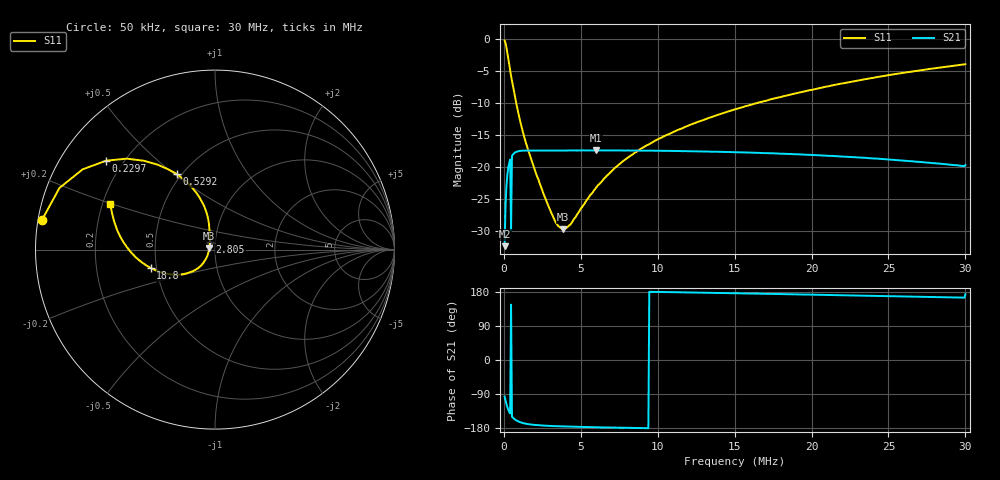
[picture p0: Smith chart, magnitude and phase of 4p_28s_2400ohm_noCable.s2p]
# HZ S RI R 50
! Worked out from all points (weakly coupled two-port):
!   501 points, 50 kHz to 30 MHz, reference 50 ohm
!   highest |S21| = -17.42 dB at 5.98 MHz (marker M1); lowest = -32.4 dB at 50 kHz (marker M2)
!   lowest |S11| = -29.8 dB at 3.824 MHz (marker M3), VSWR 1.07, Z = 46.9 + j0.666 ohm
!   |S11| at or under -10 dB: 803.5 kHz to 16.47 MHz (15.66 MHz wide, 181 % of centre)
!   S12 and S22 are empty: the file has one direction only
!   S11 on the Smith chart (normalised r, x): 50 kHz: 0.01, +0.08; 229.7 kHz: 0.14, +0.35; 529.2 kHz: 0.47, +0.51; 2.805 MHz: 0.94, +0.08; 18.8 MHz: 0.46, -0.11; 30 MHz: 0.23, +0.20
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50000  -0.9647 0.1639  -0.00266 -0.0237  0 0  0 0
229700  -0.6063 0.4955  -0.0493 -0.0717  0 0  0 0
289600  -0.4918 0.5067  -0.065 -0.0745  0 0  0 0
349500  -0.3972 0.4951  -0.0779 -0.0736  0 0  0 0
529200  -0.2135 0.4214  -0.1054 -0.0612  0 0  0 0
589100  -0.1759 0.3926  -0.1106 -0.0577  0 0  0 0
649000  -0.1459 0.3653  -0.1148 -0.0545  0 0  0 0
768800  -0.1027 0.3146  -0.1211 -0.0483  0 0  0 0
1487600  -0.033 0.1432  -0.1315 -0.0264  0 0  0 0
2805400  -0.0284 0.044  -0.1332 -0.0148  0 0  0 0
3404400  -0.03 0.02  -0.1336 -0.0125  0 0  0 0
3823700  -0.0316 0.00709  -0.1336 -0.0113  0 0  0 0
4302900  -0.0343 -0.00677  -0.1339 -0.00986  0 0  0 0
5081600  -0.0395 -0.0274  -0.1343 -0.00792  0 0  0 0
5980100  -0.0486 -0.0478  -0.1344 -0.00606  0 0  0 0
7777100  -0.0727 -0.0844  -0.1342 -0.00282  0 0  0 0
1.00533e7  -0.1167 -0.1167  -0.1336 0.000833  0 0  0 0
1.5025e7  -0.2459 -0.1379  -0.1299 0.0088  0 0  0 0
1.87987e7  -0.3577 -0.1027  -0.125 0.0144  0 0  0 0
2.00566e7  -0.3952 -0.0799  -0.1227 0.0163  0 0  0 0
2.50283e7  -0.5201 0.057  -0.1116 0.0228  0 0  0 0
3e7  -0.5831 0.2565  -0.1025 0.0121  0 0  0 0
